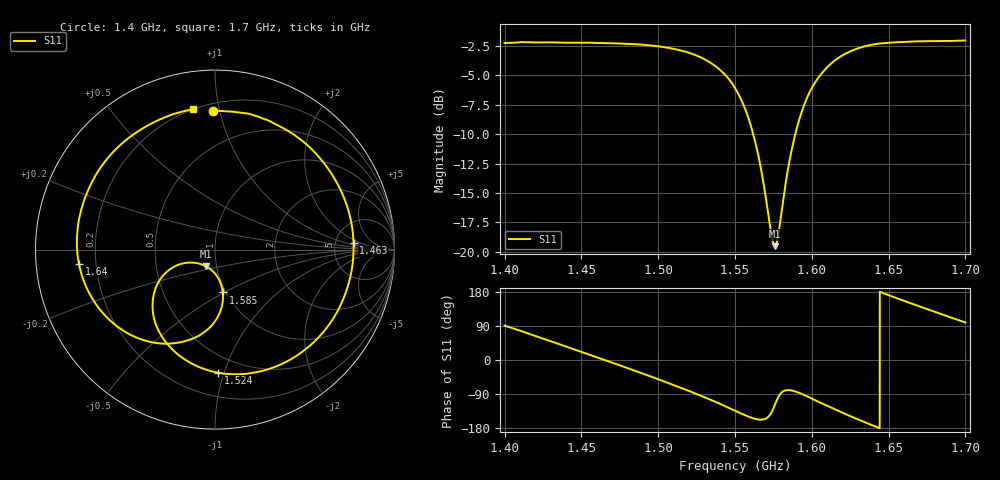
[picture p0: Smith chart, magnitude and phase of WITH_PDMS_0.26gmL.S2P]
!Keysight Technologies,E5063A,MY54503975,A.05.08
!Date: Fri Mar 07 05:33:29 2025
!Data & Calibration Information:
!Freq	S11:NONE(--)	S21:RESPT(ON)	S12:NONE(--)	S22:NONE(--)
# Hz S RI R 50
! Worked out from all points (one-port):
!   3001 points, 1.4 GHz to 1.7 GHz, reference 50 ohm
!   lowest |S11| = -19.5 dB at 1.576 GHz (marker M1), VSWR 1.24, Z = 44.4 - j8.32 ohm
!   |S11| at or under -10 dB: 1.562 GHz to 1.589 GHz (27.35 MHz wide, 1.74 % of centre)
!   S11 on the Smith chart (normalised r, x): 1.4 GHz: 0.25, +0.96; 1.463 GHz: 7.55, +1.34; 1.524 GHz: 0.37, -0.95; 1.585 GHz: 0.97, -0.49; 1.64 GHz: 0.14, -0.05; 1.7 GHz: 0.20, +0.84
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1.4e9  -0.00951 0.7723  -0 -0  0 0  0 0
1.4237e9  0.4073 0.6612  0 -0  0 0  0 0
1.45e9  0.7201 0.2851  -0 0  0 0  0 0
1.4633e9  0.7718 0.0358  -0 0  0 0  0 0
1.4816e9  0.7013 -0.3058  -0 0  0 0  0 0
1.5e9  0.4731 -0.5787  0 -0  0 0  0 0
1.5126e9  0.248 -0.6794  0 0  0 0  0 0
1.5243e9  0.0172 -0.6855  0 0  0 0  0 0
1.5368e9  -0.208 -0.5828  0 0  0 0  0 0
1.55e9  -0.3448 -0.3579  0 -0  0 0  0 0
1.5626e9  -0.2745 -0.1293  0 0  0 0  0 0
1.5759e9  -0.051 -0.0926  0 0  0 0  0 0
1.5854e9  0.0435 -0.2384  0 0  0 0  0 0
1.5924e9  0.0152 -0.375  0 0  0 0  0 0
1.6e9  -0.1036 -0.4865  0 -0  0 0  0 0
1.6087e9  -0.2853 -0.5243  0 -0  0 0  0 0
1.6175e9  -0.4718 -0.4741  -0 0  0 0  0 0
1.6293e9  -0.6644 -0.3028  -0 0  0 0  0 0
1.6404e9  -0.7576 -0.0813  -0 -0  0 0  0 0
1.65e9  -0.7649 0.1207  -0 -0  0 0  0 0
1.6765e9  -0.5273 0.5833  -0 -0  0 0  0 0
1.7e9  -0.1225 0.7822  -0 -0  0 0  0 0
